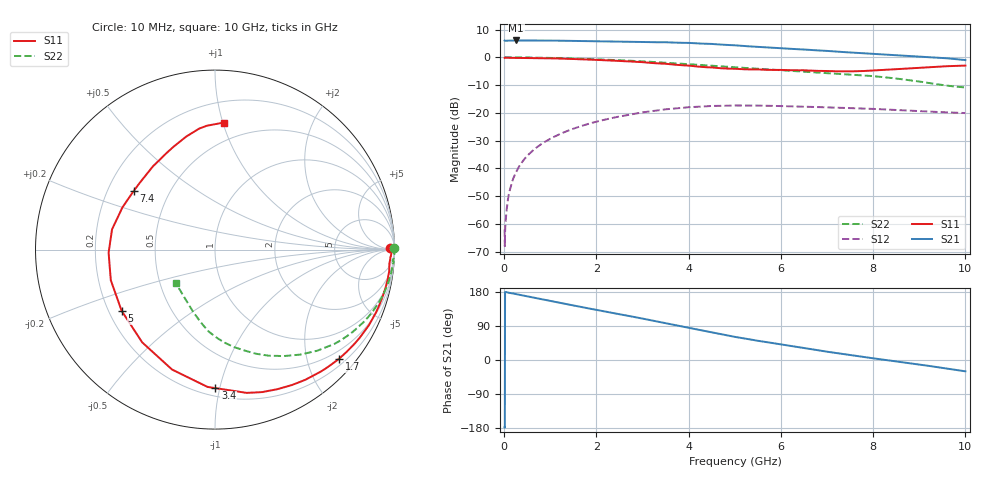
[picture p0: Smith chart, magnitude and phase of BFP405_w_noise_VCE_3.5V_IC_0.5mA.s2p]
! Infineon Technologies  Discrete & RF Semiconductors
! BFP405
! VCE =  3.5 V,  IC =  0.5 mA
! Common Emitter S-Parameters:  Jan 2016
# GHz  S  MA  R  50
!  f  S11  S21  S12  S22
! GHz  MAG  ANG  MAG  ANG  MAG  ANG  MAG  ANG
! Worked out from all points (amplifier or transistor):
!   233 points, 10 MHz to 10 GHz, reference 50 ohm
!   highest |S21| = 6.1 dB at 260 MHz (marker M1)
!   |S21| within 3 dB of that: start of sweep to 6.186 GHz
!   unconditionally stable (mu >= 1): 14.57 MHz to 15.1 MHz; 5.621 GHz to end of sweep
!   at 200 MHz: K = 0.01, MSG = 24.7 dB, |S12| = -43.5 dB
!   at 1.74 GHz: K = 0.16, MSG = 15.1 dB, |S12| = -24.4 dB
!   at 10 GHz: K = 2.42, MAG = 2.9 dB, |S12| = -20.1 dB
!   lowest NFmin = 0.78 dB at 900 MHz
!   S11 on the Smith chart (normalised r, x): 10 MHz: 79, +24; 1.7 GHz: 0.33, -2.61; 3.4 GHz: 0.25, -0.97; 5 GHz: 0.25, -0.28; 7.4 GHz: 0.31, +0.30; 10 GHz: 0.35, +1.01
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0.01  0.977 0.4  2.001 -177.3  0.0008 -40.3  1 0.5
0.015  0.9815 0.1  1.991 -179.0  0.0004 14.0  0.9981 0.4
0.02  0.9861 -0.2  1.983 179.3  0.0007 82.1  0.9962 0.2
0.035  0.9842 -0.9  1.985 179.2  0.0012 82.1  0.998 -0.1
0.085  0.9799 -2.1  1.998 178.0  0.0029 87.6  0.9998 -1.0
0.185  0.9752 -4.3  1.999 175.7  0.0062 87.6  0.998 -2.5
0.26  0.9765 -6.0  2.009 173.9  0.0086 87.2  0.9915 -3.6
0.44  0.9755 -10.4  2.004 169.5  0.0148 84.5  0.9928 -5.9
0.76  0.9669 -18.0  2 161.8  0.0258 80.2  0.9842 -10.1
1.68  0.9216 -40.9  1.963 139.8  0.0583 66.0  0.9403 -22.1
1.7  0.9206 -41.4  1.962 139.3  0.059 65.7  0.9391 -22.4
2.56  0.8545 -64.8  1.91 119.4  0.0882 51.0  0.8812 -32.9
3.4  0.7718 -89.8  1.865 99.6  0.1129 35.5  0.8095 -43.4
4  0.7098 -109.7  1.816 84.9  0.1265 24.4  0.7528 -51.0
4.5  0.6571 -128.1  1.74 72.8  0.1332 15.3  0.7058 -57.2
5  0.6221 -146.7  1.645 61.1  0.1359 6.6  0.6614 -63.3
5.1  0.6145 -150.0  1.62 59.1  0.1356 5.1  0.6533 -64.3
6  0.593 -178.3  1.454 41.1  0.1327 -7.3  0.587 -73.5
6.8  0.5701 160.9  1.33 25.9  0.1272 -15.5  0.5343 -81.8
7.4  0.5585 144.1  1.236 14.8  0.1226 -20.8  0.4962 -88.0
8.4  0.603 116.3  1.1 -2.1  0.1137 -28.0  0.4239 -99.3
10  0.7095 86.1  0.892 -29.9  0.0993 -32.0  0.2871 -139.4
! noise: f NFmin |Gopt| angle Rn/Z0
0.9  0.78  0.8  16  0.85
1.8  1.31  0.68  35  0.8
2.4  1.61  0.59  48  0.67
3  1.86  0.58  63  0.64
4  2.16  0.46  92  0.41
5  2.4  0.46  126  0.24
